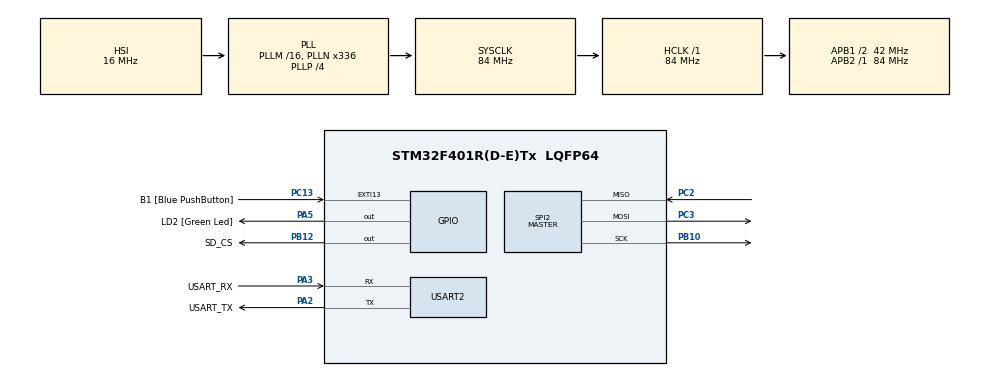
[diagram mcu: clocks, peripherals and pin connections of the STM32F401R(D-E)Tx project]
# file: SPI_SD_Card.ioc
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Mcu.Family=STM32F4
Mcu.Name=STM32F401R(D-E)Tx
Mcu.Package=LQFP64
NVIC.PriorityGroup=NVIC_PRIORITYGROUP_0
PA13.GPIO_Label=TMS
PA13.Mode=Trace_Asynchronous_SW
PA13.Signal=SYS_JTMS-SWDIO
PA14.GPIO_Label=TCK
PA14.Mode=Trace_Asynchronous_SW
PA14.Signal=SYS_JTCK-SWCLK
PA2.GPIO_Label=USART_TX
PA2.GPIO_Mode=GPIO_MODE_AF_PP
PA2.GPIO_PuPd=GPIO_NOPULL
PA2.GPIO_Speed=GPIO_SPEED_FREQ_LOW
PA2.Mode=Asynchronous
PA2.Signal=USART2_TX
PA3.GPIO_Label=USART_RX
PA3.GPIO_Mode=GPIO_MODE_AF_PP
PA3.GPIO_PuPd=GPIO_NOPULL
PA3.GPIO_Speed=GPIO_SPEED_FREQ_LOW
PA3.Mode=Asynchronous
PA3.Signal=USART2_RX
PA5.GPIO_Label=LD2 [Green Led]
PA5.GPIO_Mode=GPIO_MODE_OUTPUT_PP
PA5.GPIO_PuPd=GPIO_NOPULL
PA5.GPIO_Speed=GPIO_SPEED_FREQ_LOW
PA5.Signal=GPIO_Output
PB10.GPIO_PuPd=GPIO_PULLUP
PB10.Mode=Full_Duplex_Master
PB10.Signal=SPI2_SCK
PB12.GPIO_Label=SD_CS
PB12.GPIO_PuPd=GPIO_PULLUP
PB12.GPIO_Speed=GPIO_SPEED_FREQ_VERY_HIGH
PB12.PinState=GPIO_PIN_RESET
PB12.Signal=GPIO_Output
PB3.GPIO_Label=SWO
PB3.Mode=Trace_Asynchronous_SW
PB3.Signal=SYS_JTDO-SWO
PC13-ANTI_TAMP.GPIO_Label=B1 [Blue PushButton]
PC13-ANTI_TAMP.GPIO_ModeDefaultEXTI=GPIO_MODE_IT_FALLING
PC13-ANTI_TAMP.GPIO_PuPd=GPIO_NOPULL
PC13-ANTI_TAMP.Signal=GPXTI13
PC14-OSC32_IN.Mode=LSE-External-Oscillator
PC14-OSC32_IN.Signal=RCC_OSC32_IN
PC15-OSC32_OUT.Mode=LSE-External-Oscillator
PC15-OSC32_OUT.Signal=RCC_OSC32_OUT
PC2.GPIO_PuPd=GPIO_PULLUP
PC2.Mode=Full_Duplex_Master
PC2.Signal=SPI2_MISO
PC3.GPIO_PuPd=GPIO_PULLUP
PC3.Mode=Full_Duplex_Master
PC3.Signal=SPI2_MOSI
PH0\ -\ OSC_IN.Mode=HSE-External-Clock-Source
PH0\ -\ OSC_IN.Signal=RCC_OSC_IN
PH1\ -\ OSC_OUT.Mode=HSE-External-Clock-Source
PH1\ -\ OSC_OUT.Signal=RCC_OSC_OUT
ProjectManager.HeapSize=0x200
ProjectManager.StackSize=0x1000
ProjectManager.TargetToolchain=EWARM V8.32
RCC.48MHZClocksFreq_Value=48000000
RCC.AHBFreq_Value=84000000
RCC.APB1CLKDivider=RCC_HCLK_DIV2
RCC.APB1Freq_Value=42000000
RCC.APB1TimFreq_Value=84000000
RCC.APB2Freq_Value=84000000
RCC.APB2TimFreq_Value=84000000
RCC.CortexFreq_Value=84000000
RCC.HCLKFreq_Value=84000000
RCC.HSE_VALUE=8000000
RCC.HSI_VALUE=16000000
RCC.PLLN=336
RCC.PLLP=RCC_PLLP_DIV4
RCC.PLLQ=7
RCC.SYSCLKFreq_VALUE=84000000
RCC.SYSCLKSource=RCC_SYSCLKSOURCE_PLLCLK
RCC.VCOOutputFreq_Value=336000000
SPI2.BaudRatePrescaler=SPI_BAUDRATEPRESCALER_256
SPI2.Direction=SPI_DIRECTION_2LINES
SPI2.Mode=SPI_MODE_MASTER
SPI2.VirtualType=VM_MASTER
USART2.VirtualMode=VM_ASYNC
VP_FATFS_VS_Generic.Mode=User_defined
board=NUCLEO-F401RE

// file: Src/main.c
/* USER CODE BEGIN Header */
/**
  ******************************************************************************
  * @file           : main.c
  * @brief          : Main program body
  ******************************************************************************
  * @attention
  *
  * <h2><center>&copy; Copyright (c) 2022 STMicroelectronics.
  * All rights reserved.</center></h2>
  *
  * This software component is licensed by ST under Ultimate Liberty license
  * SLA0044, the "License"; You may not use this file except in compliance with
  * the License. You may obtain a copy of the License at:
  *                             www.st.com/SLA0044
  *
  ******************************************************************************
  */
/* USER CODE END Header */

#include "main.h"
#include "fatfs.h"

SPI_HandleTypeDef hspi2;

UART_HandleTypeDef huart2;

void SystemClock_Config(void);
static void MX_GPIO_Init(void);
static void MX_SPI2_Init(void);
static void MX_USART2_UART_Init(void);

int main(void)
{

  /* MCU Configuration--------------------------------------------------------*/

  /* Reset of all peripherals, Initializes the Flash interface and the Systick. */
  HAL_Init();

  /* Configure the system clock */
  SystemClock_Config();

  /* Initialize all configured peripherals */
  MX_GPIO_Init();
  MX_SPI2_Init();
  MX_USART2_UART_Init();
  MX_FATFS_Init();
  /* USER CODE BEGIN 2 */
  printf("SD card SPI Demo\n");
  HAL_Delay(1000); //a short delay is important to let the SD card settle

  //some variables for FatFs
  FATFS FatFs; 	// Fatfs handle

  FRESULT fres; // Result after operations

  //Open the file system
  fres = f_mount(&FatFs, "", 1);  // 1=mount now
  if (fres != FR_OK) {
    printf("f_mount error (%i)\r\n", fres);
    while(1);
  }else{
    printf("f_mount OK\n\n");
  }

  //xxxxxxxxxxxxxxxxxxxxxxxxxxxxxxxxxxxxxxxxxxxxxxxxxxxxxxxxxxxxxxxxxxxxxxxxxxxxxxxxxxxxxxxxxxxxxxxxxxxxxxxxxxxxxxxxxxx
  //xxxxxxxxxxxxxxxxxx Get SD Card Size xxxxxxxxxxxxxxxxxxxxxxxxxxxxxxxxxxxxxxxxxxxxxxxxxxxxxxxxxxxxxxxxxxxxxxxxxxxxxxx

  DWORD free_clusters, free_sectors, total_sectors;

  FATFS* getFreeFs;

  fres = f_getfree("", &free_clusters, &getFreeFs);
  if (fres != FR_OK) {
    printf("f_getfree error (%i)\r\n", fres);
    while(1);
  }

  //Formula comes from ChaN's documentation
  total_sectors = (getFreeFs->n_fatent - 2) * getFreeFs->csize;
  free_sectors = free_clusters * getFreeFs->csize;

  printf("SD Card stats:\r\n%10lu KiB total drive space.\r\n%10lu KiB available.\r\n\n", total_sectors / 2, free_sectors / 2);

  //xxxxxxxxxxxxxxxxxxxxxxxxxxxxxxxxxxxxxxxxxxxxxxxxxxxxxxxxxxxxxxxxxxxxxxxxxxxxxxxxxxxxxxxxxxxxxxxxxxxxxxxxxxxxxxxxxxx

  //xxxxxxxxxxxxxxxxxxxxxxxxxxxxxxxxxxxxxxxxxxxxxxxxxxxxxxxxxxxxxxxxxxxxxxxxxxxxxxxxxxxxxxxxxxxxxxxxxxxxxxxxxxxxxxxxxxx
  //xxxxxxxxxxxxxxxxxx Write a File xxxxxxxxxxxxxxxxxxxxxxxxxxxxxxxxxxxxxxxxxxxxxxxxxxxxxxxxxxxxxxxxxxxxxxxxxxxxxxx
  FRESULT Result;
  FIL file;      // File handle
  char FileName[] = "New.txt";

  Result = f_open( &file , FileName , FA_WRITE | FA_OPEN_ALWAYS | FA_CREATE_ALWAYS);

  if( Result == FR_OK ) {
    printf("I was able to open %s for writing\r\n" , FileName);
  } else {
    printf("f_open error (%i) \r\n", Result);
  }

    // Copy in a string
  char write_data_duffer[] = "This is a penguin!!";
  unsigned int bytesWrote;

  Result = f_write( &file , write_data_duffer ,sizeof(write_data_duffer) , &bytesWrote);

  if(Result == FR_OK) {
    printf("Write %i Bytes to %s !\r\n\n", bytesWrote , FileName);
  } else {
    printf("f_write error\r\n");
  }

  f_close(&file);
  //xxxxxxxxxxxxxxxxxxxxxxxxxxxxxxxxxxxxxxxxxxxxxxxxxxxxxxxxxxxxxxxxxxxxxxxxxxxxxxxxxxxxxxxxxxxxxxxxxxxxxxxxxxxxxxxxxxx

 //xxxxxxxxxxxxxxxxxxxxxxxxxxxxxxxxxxxxxxxxxxxxxxxxxxxxxxxxxxxxxxxxxxxxxxxxxxxxxxxxxxxxxxxxxxxxxxxxxxxxxxxxxxxxxxxxxxx
 //xxxxxxxxxxxxxxxxxx Read a File xxxxxxxxxxxxxxxxxxxxxxxxxxxxxxxxxxxxxxxxxxxxxxxxxxxxxxxxxxxxxxxxxxxxxxxxxxxxxxx

  Result = f_open(&file, FileName , FA_READ);
  if (Result != FR_OK) {
    printf("f_open error\r\n");
    while(1);
  }
  printf("I was able to open %s for reading!\r\n\n" , FileName);

  //Read 30 bytes from "test.txt" on the SD card
  char readBuf[30];

  //We can either use f_read OR f_gets to get data out of files
  //f_gets is a wrapper on f_read that does some string formatting for us
  char* Rres = f_gets( readBuf , sizeof(readBuf) , &file);
  if(Rres != 0) {
    printf("f_gets String from %s contents: \r\n%s\r\n\n", FileName ,readBuf);
  } else {
    printf("f_gets error (%i) \r\n", *Rres);
  }

  Result = f_lseek ( &file, 0x00);
  if(Result == FR_OK){
    printf("f_lseek (0) ok\r\n\n");
  }else {
    printf("f_lseek error (%i) \r\n", Result );
  }

  char readBuffer[50];
  uint32_t bytesRead;

  Result = f_read( &file , readBuffer , sizeof(readBuffer) , &bytesRead );

  if(Result == FR_OK){
    printf("Read (%d) bytes Data from %s contents: \r\n %s \r\n", bytesRead , FileName ,readBuffer);
  }else {
    printf("f_read error (%i) \r\n", Result );
  }

  f_close(&file);
  //xxxxxxxxxxxxxxxxxxxxxxxxxxxxxxxxxxxxx*/

  /* USER CODE END 2 */

  /* Infinite loop */
  while (1)
  {

  }
}

void SystemClock_Config(void)
{
  RCC_OscInitTypeDef RCC_OscInitStruct = {0};
  RCC_ClkInitTypeDef RCC_ClkInitStruct = {0};

  /** Configure the main internal regulator output voltage
  */
  __HAL_RCC_PWR_CLK_ENABLE();
  __HAL_PWR_VOLTAGESCALING_CONFIG(PWR_REGULATOR_VOLTAGE_SCALE2);
  /** Initializes the CPU, AHB and APB busses clocks
  */
  RCC_OscInitStruct.OscillatorType = RCC_OSCILLATORTYPE_HSI;
  RCC_OscInitStruct.HSIState = RCC_HSI_ON;
  RCC_OscInitStruct.HSICalibrationValue = RCC_HSICALIBRATION_DEFAULT;
  RCC_OscInitStruct.PLL.PLLState = RCC_PLL_ON;
  RCC_OscInitStruct.PLL.PLLSource = RCC_PLLSOURCE_HSI;
  RCC_OscInitStruct.PLL.PLLM = 16;
  RCC_OscInitStruct.PLL.PLLN = 336;
  RCC_OscInitStruct.PLL.PLLP = RCC_PLLP_DIV4;
  RCC_OscInitStruct.PLL.PLLQ = 7;
  if (HAL_RCC_OscConfig(&RCC_OscInitStruct) != HAL_OK)
  {
    Error_Handler();
  }
  /** Initializes the CPU, AHB and APB busses clocks
  */
  RCC_ClkInitStruct.ClockType = RCC_CLOCKTYPE_HCLK|RCC_CLOCKTYPE_SYSCLK
                              |RCC_CLOCKTYPE_PCLK1|RCC_CLOCKTYPE_PCLK2;
  RCC_ClkInitStruct.SYSCLKSource = RCC_SYSCLKSOURCE_PLLCLK;
  RCC_ClkInitStruct.AHBCLKDivider = RCC_SYSCLK_DIV1;
  RCC_ClkInitStruct.APB1CLKDivider = RCC_HCLK_DIV2;
  RCC_ClkInitStruct.APB2CLKDivider = RCC_HCLK_DIV1;

  if (HAL_RCC_ClockConfig(&RCC_ClkInitStruct, FLASH_LATENCY_2) != HAL_OK)
  {
    Error_Handler();
  }
}

static void MX_SPI2_Init(void)
{

  /* SPI2 parameter configuration*/
  hspi2.Instance = SPI2;
  hspi2.Init.Mode = SPI_MODE_MASTER;
  hspi2.Init.Direction = SPI_DIRECTION_2LINES;
  hspi2.Init.DataSize = SPI_DATASIZE_8BIT;
  hspi2.Init.CLKPolarity = SPI_POLARITY_LOW;
  hspi2.Init.CLKPhase = SPI_PHASE_1EDGE;
  hspi2.Init.NSS = SPI_NSS_SOFT;
  hspi2.Init.BaudRatePrescaler = SPI_BAUDRATEPRESCALER_256;
  hspi2.Init.FirstBit = SPI_FIRSTBIT_MSB;
  hspi2.Init.TIMode = SPI_TIMODE_DISABLE;
  hspi2.Init.CRCCalculation = SPI_CRCCALCULATION_DISABLE;
  hspi2.Init.CRCPolynomial = 10;
  if (HAL_SPI_Init(&hspi2) != HAL_OK)
  {
    Error_Handler();
  }

}

static void MX_USART2_UART_Init(void)
{

  huart2.Instance = USART2;
  huart2.Init.BaudRate = 115200;
  huart2.Init.WordLength = UART_WORDLENGTH_8B;
  huart2.Init.StopBits = UART_STOPBITS_1;
  huart2.Init.Parity = UART_PARITY_NONE;
  huart2.Init.Mode = UART_MODE_TX_RX;
  huart2.Init.HwFlowCtl = UART_HWCONTROL_NONE;
  huart2.Init.OverSampling = UART_OVERSAMPLING_16;
  if (HAL_UART_Init(&huart2) != HAL_OK)
  {
    Error_Handler();
  }

}

static void MX_GPIO_Init(void)
{
  GPIO_InitTypeDef GPIO_InitStruct = {0};

  /* GPIO Ports Clock Enable */
  __HAL_RCC_GPIOC_CLK_ENABLE();
  __HAL_RCC_GPIOH_CLK_ENABLE();
  __HAL_RCC_GPIOA_CLK_ENABLE();
  __HAL_RCC_GPIOB_CLK_ENABLE();

  /*Configure GPIO pin Output Level */
  HAL_GPIO_WritePin(LD2_GPIO_Port, LD2_Pin, GPIO_PIN_RESET);

  /*Configure GPIO pin Output Level */
  HAL_GPIO_WritePin(SD_CS_GPIO_Port, SD_CS_Pin, GPIO_PIN_RESET);

  /*Configure GPIO pin : B1_Pin */
  GPIO_InitStruct.Pin = B1_Pin;
  GPIO_InitStruct.Mode = GPIO_MODE_IT_FALLING;
  GPIO_InitStruct.Pull = GPIO_NOPULL;
  HAL_GPIO_Init(B1_GPIO_Port, &GPIO_InitStruct);

  /*Configure GPIO pin : LD2_Pin */
  GPIO_InitStruct.Pin = LD2_Pin;
  GPIO_InitStruct.Mode = GPIO_MODE_OUTPUT_PP;
  GPIO_InitStruct.Pull = GPIO_NOPULL;
  GPIO_InitStruct.Speed = GPIO_SPEED_FREQ_LOW;
  HAL_GPIO_Init(LD2_GPIO_Port, &GPIO_InitStruct);

  /*Configure GPIO pin : SD_CS_Pin */
  GPIO_InitStruct.Pin = SD_CS_Pin;
  GPIO_InitStruct.Mode = GPIO_MODE_OUTPUT_PP;
  GPIO_InitStruct.Pull = GPIO_PULLUP;
  GPIO_InitStruct.Speed = GPIO_SPEED_FREQ_VERY_HIGH;
  HAL_GPIO_Init(SD_CS_GPIO_Port, &GPIO_InitStruct);

}

void Error_Handler(void)
{
}

/************************ (C) COPYRIGHT STMicroelectronics *****END OF FILE****/
